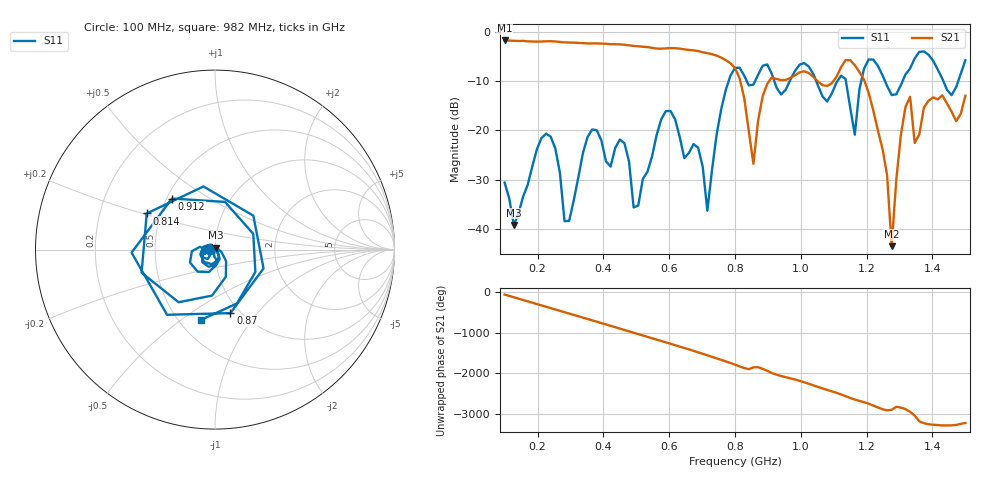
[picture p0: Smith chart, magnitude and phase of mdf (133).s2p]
! NanoVNA-App
! Date: 2025-09-26 09:40:46
! Start: 100MHz Stop: 1,5GHz Points: 101
! S-Parameter data: F S11 S21 S12 S22
# Hz S RI R 50
!  Frequency  S11_Real  S11_Imag  S21_Real  S21_Imag  S12_Real  S12_Imag  S22_Real  S22_Imag
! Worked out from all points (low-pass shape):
!   101 points, 100 MHz to 1.5 GHz, reference 50 ohm
!   highest |S21| = -1.79 dB at 100 MHz (marker M1); lowest = -43.5 dB at 1.276 GHz (marker M2)
!   |S21| within 3 dB of the highest: start of sweep to 740.8 MHz
!   lowest |S11| = -39.2 dB at 128 MHz (marker M3), VSWR 1.02, Z = 50.3 + j1.06 ohm
!   |S11| at or under -10 dB: start of sweep to 780.9 MHz; 1.046 GHz to 1.112 GHz (65.11 MHz wide, 6.03 % of centre); 1.256 GHz to 1.309 GHz (53.9 MHz wide, 4.2 % of centre)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
!   S12 and S22 are empty: the file has one direction only
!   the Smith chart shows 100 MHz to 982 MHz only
!   S11 on the Smith chart (normalised r, x): 100 MHz: 0.94, -0.01; 814 MHz: 0.42, +0.21; 870 MHz: 0.90, -0.74; 912 MHz: 0.53, +0.35; 982 MHz: 0.64, -0.60
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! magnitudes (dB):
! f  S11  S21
! 100 MHz  -30.6  -1.8
! 128 MHz  -39.2  -1.9
! 212 MHz  -21.6  -2.0
! 282 MHz  -38.4  -2.2
! 338 MHz  -24.6  -2.3
! 464 MHz  -22.6  -2.6
! 506 MHz  -35.3  -3.0
! 576 MHz  -17.8  -3.5
! 716 MHz  -36.3  -4.4
! 800 MHz  -7.4  -7.4
! 814 MHz  -7.3  -9.5
! 856 MHz  -10.8  -26.8
! 870 MHz  -8.8  -18.1
! 912 MHz  -8.6  -9.3
! 982 MHz  -8.0  -8.9
! 1.038 GHz  -8.6  -9.2
! 1.164 GHz  -20.9  -6.8
! 1.192 GHz  -7.5  -9.8
! 1.276 GHz  -12.9  -43.5
! 1.332 GHz  -7.5  -13.2
! 1.346 GHz  -5.4  -22.6
! 1.5 GHz  -5.8  -13.0
